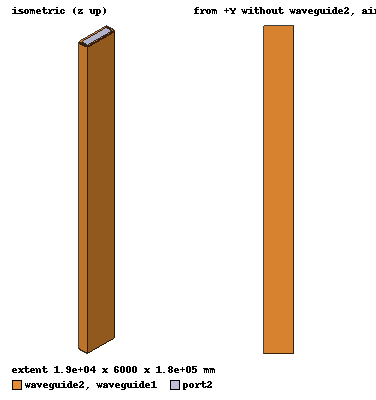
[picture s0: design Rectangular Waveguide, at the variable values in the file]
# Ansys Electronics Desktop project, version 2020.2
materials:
  vacuum: permittivity=1
  copper: permeability=0.999991 conductivity=58000000
  Rogers RO4003 (tm): permittivity=3.55 dielectric_loss_tangent=0.0027

design Rectangular Waveguide (HFSS, DrivenModal, model units mm)
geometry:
  waveguide1 [copper, solve inside] = box(corner=(-8.5m, -2m, -90m), size=(17m, 4m, 180m))
  waveguide2 [copper, solve inside] = box(corner=(-9.5m, -3m, -90m), size=(19m, 6m, 180m))
  air [Rogers RO4003 (tm)] = box(corner=(-8.5m, -2m, -90m), size=(17m, 4m, 180m))
  port1 = rectangle(corner=(-8.5m, -2m, -90m), x_size=17m, y_size=4m)
  port2 = rectangle(corner=(-8.5m, -2m, 90m), x_size=17m, y_size=4m)
